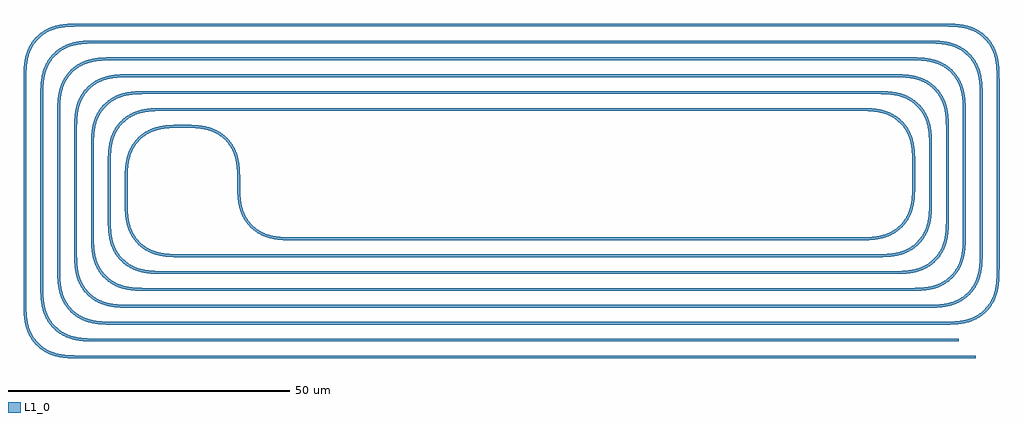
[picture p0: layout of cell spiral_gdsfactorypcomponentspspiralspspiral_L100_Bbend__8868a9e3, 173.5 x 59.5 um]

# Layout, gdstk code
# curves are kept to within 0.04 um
from math import pi, radians
import gdstk
lib = gdstk.Library(unit=1e-6, precision=1e-09)
def R(c, l, rs):  # rectangles x0, y0, x1, y1
    for r in rs: c.add(gdstk.rectangle(r[:2], r[2:], *l))
def P(c, l, *ps):  # polygons
    for p in ps: c.add(gdstk.Polygon(p, *l))
L1_0 = (1, 0)

bend_euler_gdsfactorypco = lib.new_cell('bend_euler_gdsfactorypcomponentspbendspbend_euler_RNone_387600b2')
P(bend_euler_gdsfactorypco, L1_0, [(0,-0.25),(0,0.25),(1.655,0.269),(2.881,0.353),(3.952,0.52),(4.99,0.806),(5.731,1.113),(6.431,1.505),(7.575,2.425),(8.495,3.569),(8.887,4.269),(9.194,5.01),(9.48,6.048),(9.647,7.119),(9.731,8.345),(9.75,10),(10.25,10),(10.158,7.205),(10.023,6.224),(9.797,5.254),(9.457,4.312),(9.066,3.545),(8.5,2.715),(7.928,2.072),(7.285,1.5),(6.455,0.934),(5.688,0.543),(4.746,0.203),(3.776,-0.023),(2.795,-0.158)])

straight_gdsfactorypcomp = lib.new_cell('straight_gdsfactorypcomponentspwaveguidespstraight_L3_N_b797802a')
R(straight_gdsfactorypcomp, L1_0, [(0,-0.25,3,0.25)])

c_straight_gdsfactorypcomp = lib.new_cell('straight_gdsfactorypcomponentspwaveguidespstraight_L123_3b9879fb')
R(c_straight_gdsfactorypcomp, L1_0, [(0,-0.25,123,0.25)])

c_straight_gdsfactorypcomp_ = lib.new_cell('straight_gdsfactorypcomponentspwaveguidespstraight_L100_fb22af26')
R(c_straight_gdsfactorypcomp_, L1_0, [(0,-0.25,100,0.25)])

c_straight_gdsfactorypcomp__ = lib.new_cell('straight_gdsfactorypcomponentspwaveguidespstraight_L9_N_40e20b84')
R(c_straight_gdsfactorypcomp__, L1_0, [(0,-0.25,9,0.25)])

c_straight_gdsfactorypcomp___ = lib.new_cell('straight_gdsfactorypcomponentspwaveguidespstraight_L129_108538c4')
R(c_straight_gdsfactorypcomp___, L1_0, [(0,-0.25,129,0.25)])

c_straight_gdsfactorypcomp____ = lib.new_cell('straight_gdsfactorypcomponentspwaveguidespstraight_L15__aa481ca5')
R(c_straight_gdsfactorypcomp____, L1_0, [(0,-0.25,15,0.25)])

c_straight_gdsfactorypcomp_____ = lib.new_cell('straight_gdsfactorypcomponentspwaveguidespstraight_L135_9923e88f')
R(c_straight_gdsfactorypcomp_____, L1_0, [(0,-0.25,135,0.25)])

c_straight_gdsfactorypcomp______ = lib.new_cell('straight_gdsfactorypcomponentspwaveguidespstraight_L21__0a862ebf')
R(c_straight_gdsfactorypcomp______, L1_0, [(0,-0.25,21,0.25)])

c_straight_gdsfactorypcomp_______ = lib.new_cell('straight_gdsfactorypcomponentspwaveguidespstraight_L141_aa881f7c')
R(c_straight_gdsfactorypcomp_______, L1_0, [(0,-0.25,141,0.25)])

c_straight_gdsfactorypcomp________ = lib.new_cell('straight_gdsfactorypcomponentspwaveguidespstraight_L27__d13ab42d')
R(c_straight_gdsfactorypcomp________, L1_0, [(0,-0.25,27,0.25)])

c_straight_gdsfactorypcomp_________ = lib.new_cell('straight_gdsfactorypcomponentspwaveguidespstraight_L147_c48384bc')
R(c_straight_gdsfactorypcomp_________, L1_0, [(0,-0.25,147,0.25)])

c_straight_gdsfactorypcomp__________ = lib.new_cell('straight_gdsfactorypcomponentspwaveguidespstraight_L33__c5d9c8f9')
R(c_straight_gdsfactorypcomp__________, L1_0, [(0,-0.25,33,0.25)])

c_straight_gdsfactorypcomp___________ = lib.new_cell('straight_gdsfactorypcomponentspwaveguidespstraight_L153_c7ad8543')
R(c_straight_gdsfactorypcomp___________, L1_0, [(0,-0.25,153,0.25)])

c_straight_gdsfactorypcomp____________ = lib.new_cell('straight_gdsfactorypcomponentspwaveguidespstraight_L39__feefbca7')
R(c_straight_gdsfactorypcomp____________, L1_0, [(0,-0.25,39,0.25)])

c_straight_gdsfactorypcomp_____________ = lib.new_cell('straight_gdsfactorypcomponentspwaveguidespstraight_L159_2c2dd962')
R(c_straight_gdsfactorypcomp_____________, L1_0, [(0,-0.25,159,0.25)])

spiral_gdsfactorypcompon = lib.new_cell('spiral_gdsfactorypcomponentspspiralspspiral_L100_Bbend__8868a9e3')
spiral_gdsfactorypcompon.add(gdstk.Reference(bend_euler_gdsfactorypco, (0,0), rotation=pi, x_reflection=True))
spiral_gdsfactorypcompon.add(gdstk.Reference(bend_euler_gdsfactorypco, (-10,10), rotation=pi/2))
spiral_gdsfactorypcompon.add(gdstk.Reference(bend_euler_gdsfactorypco, (-20,20), rotation=pi))
spiral_gdsfactorypcompon.add(gdstk.Reference(bend_euler_gdsfactorypco, (-30,7), rotation=3*pi/2))
spiral_gdsfactorypcompon.add(gdstk.Reference(straight_gdsfactorypcomp, (-30,10), rotation=3*pi/2))
spiral_gdsfactorypcompon.add(gdstk.Reference(c_straight_gdsfactorypcomp, (-20,-3)))
spiral_gdsfactorypcompon.add(gdstk.Reference(c_straight_gdsfactorypcomp_, (0,0)))
spiral_gdsfactorypcompon.add(gdstk.Reference(bend_euler_gdsfactorypco, (100,0)))
spiral_gdsfactorypcompon.add(gdstk.Reference(bend_euler_gdsfactorypco, (103,-3)))
spiral_gdsfactorypcompon.add(gdstk.Reference(bend_euler_gdsfactorypco, (110,13), rotation=pi/2))
spiral_gdsfactorypcompon.add(gdstk.Reference(bend_euler_gdsfactorypco, (113,16), rotation=pi/2))
spiral_gdsfactorypcompon.add(gdstk.Reference(bend_euler_gdsfactorypco, (-23,23), rotation=pi))
spiral_gdsfactorypcompon.add(gdstk.Reference(bend_euler_gdsfactorypco, (-26,26), rotation=pi))
spiral_gdsfactorypcompon.add(gdstk.Reference(bend_euler_gdsfactorypco, (-33,4), rotation=3*pi/2))
spiral_gdsfactorypcompon.add(gdstk.Reference(bend_euler_gdsfactorypco, (-36,1), rotation=3*pi/2))
spiral_gdsfactorypcompon.add(gdstk.Reference(straight_gdsfactorypcomp, (110,10), rotation=pi/2))
spiral_gdsfactorypcompon.add(gdstk.Reference(c_straight_gdsfactorypcomp__, (113,7), rotation=pi/2))
spiral_gdsfactorypcompon.add(gdstk.Reference(c_straight_gdsfactorypcomp, (100,23), rotation=pi))
spiral_gdsfactorypcompon.add(gdstk.Reference(c_straight_gdsfactorypcomp___, (103,26), rotation=pi))
spiral_gdsfactorypcompon.add(gdstk.Reference(c_straight_gdsfactorypcomp__, (-33,13), rotation=3*pi/2))
spiral_gdsfactorypcompon.add(gdstk.Reference(c_straight_gdsfactorypcomp____, (-36,16), rotation=3*pi/2))
spiral_gdsfactorypcompon.add(gdstk.Reference(c_straight_gdsfactorypcomp___, (-23,-6)))
spiral_gdsfactorypcompon.add(gdstk.Reference(c_straight_gdsfactorypcomp_____, (-26,-9)))
spiral_gdsfactorypcompon.add(gdstk.Reference(bend_euler_gdsfactorypco, (106,-6)))
spiral_gdsfactorypcompon.add(gdstk.Reference(bend_euler_gdsfactorypco, (109,-9)))
spiral_gdsfactorypcompon.add(gdstk.Reference(bend_euler_gdsfactorypco, (116,19), rotation=pi/2))
spiral_gdsfactorypcompon.add(gdstk.Reference(bend_euler_gdsfactorypco, (119,22), rotation=pi/2))
spiral_gdsfactorypcompon.add(gdstk.Reference(bend_euler_gdsfactorypco, (-29,29), rotation=pi))
spiral_gdsfactorypcompon.add(gdstk.Reference(bend_euler_gdsfactorypco, (-32,32), rotation=pi))
spiral_gdsfactorypcompon.add(gdstk.Reference(bend_euler_gdsfactorypco, (-39,-2), rotation=3*pi/2))
spiral_gdsfactorypcompon.add(gdstk.Reference(bend_euler_gdsfactorypco, (-42,-5), rotation=3*pi/2))
spiral_gdsfactorypcompon.add(gdstk.Reference(c_straight_gdsfactorypcomp____, (116,4), rotation=pi/2))
spiral_gdsfactorypcompon.add(gdstk.Reference(c_straight_gdsfactorypcomp______, (119,1), rotation=pi/2))
spiral_gdsfactorypcompon.add(gdstk.Reference(c_straight_gdsfactorypcomp_____, (106,29), rotation=pi))
spiral_gdsfactorypcompon.add(gdstk.Reference(c_straight_gdsfactorypcomp_______, (109,32), rotation=pi))
spiral_gdsfactorypcompon.add(gdstk.Reference(c_straight_gdsfactorypcomp______, (-39,19), rotation=3*pi/2))
spiral_gdsfactorypcompon.add(gdstk.Reference(c_straight_gdsfactorypcomp________, (-42,22), rotation=3*pi/2))
spiral_gdsfactorypcompon.add(gdstk.Reference(c_straight_gdsfactorypcomp_______, (-29,-12)))
spiral_gdsfactorypcompon.add(gdstk.Reference(c_straight_gdsfactorypcomp_________, (-32,-15)))
spiral_gdsfactorypcompon.add(gdstk.Reference(bend_euler_gdsfactorypco, (112,-12)))
spiral_gdsfactorypcompon.add(gdstk.Reference(bend_euler_gdsfactorypco, (115,-15)))
spiral_gdsfactorypcompon.add(gdstk.Reference(bend_euler_gdsfactorypco, (122,25), rotation=pi/2))
spiral_gdsfactorypcompon.add(gdstk.Reference(bend_euler_gdsfactorypco, (125,28), rotation=pi/2))
spiral_gdsfactorypcompon.add(gdstk.Reference(bend_euler_gdsfactorypco, (-35,35), rotation=pi))
spiral_gdsfactorypcompon.add(gdstk.Reference(bend_euler_gdsfactorypco, (-38,38), rotation=pi))
spiral_gdsfactorypcompon.add(gdstk.Reference(bend_euler_gdsfactorypco, (-45,-8), rotation=3*pi/2))
spiral_gdsfactorypcompon.add(gdstk.Reference(bend_euler_gdsfactorypco, (-48,-11), rotation=3*pi/2))
spiral_gdsfactorypcompon.add(gdstk.Reference(c_straight_gdsfactorypcomp________, (122,-2), rotation=pi/2))
spiral_gdsfactorypcompon.add(gdstk.Reference(c_straight_gdsfactorypcomp__________, (125,-5), rotation=pi/2))
spiral_gdsfactorypcompon.add(gdstk.Reference(c_straight_gdsfactorypcomp_________, (112,35), rotation=pi))
spiral_gdsfactorypcompon.add(gdstk.Reference(c_straight_gdsfactorypcomp___________, (115,38), rotation=pi))
spiral_gdsfactorypcompon.add(gdstk.Reference(c_straight_gdsfactorypcomp__________, (-45,25), rotation=3*pi/2))
spiral_gdsfactorypcompon.add(gdstk.Reference(c_straight_gdsfactorypcomp____________, (-48,28), rotation=3*pi/2))
spiral_gdsfactorypcompon.add(gdstk.Reference(c_straight_gdsfactorypcomp___________, (-35,-18)))
spiral_gdsfactorypcompon.add(gdstk.Reference(c_straight_gdsfactorypcomp_____________, (-38,-21)))

lib.write_gds('spiral_gdsfactorypcomponentspspiralspspiral_L100_Bbend__8868a9e3.gds')
